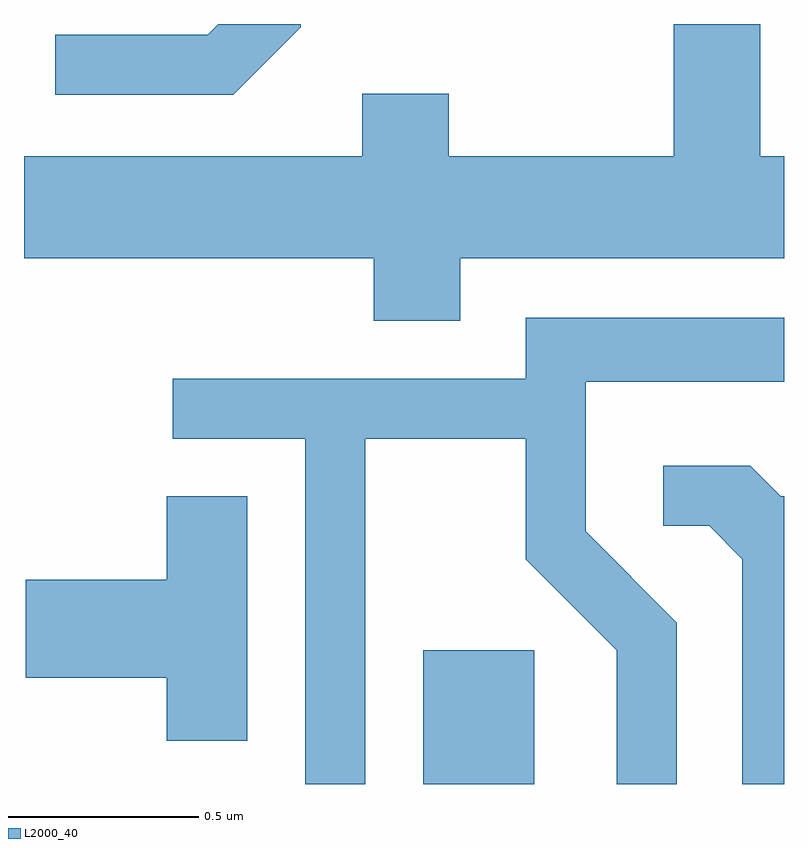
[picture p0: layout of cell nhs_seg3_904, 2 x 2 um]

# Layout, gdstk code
import gdstk
lib = gdstk.Library(unit=1e-6, precision=1e-09)
def R(c, l, rs):  # rectangles x0, y0, x1, y1
    for r in rs: c.add(gdstk.rectangle(r[:2], r[2:], *l))
def P(c, l, *ps):  # polygons
    for p in ps: c.add(gdstk.Polygon(p, *l))
L2000_40 = (2000, 40)

nhs_seg3_904 = lib.new_cell('nhs_seg3_904')
R(nhs_seg3_904, L2000_40, [(192.661,1197.892,192.954,1198.244)])
P(nhs_seg3_904, L2000_40, [(192.759,1199.276),(193.611,1199.276),(193.611,1199.544),(193.549,1199.544),(193.549,1199.892),(193.321,1199.892),(193.321,1199.544),(192.729,1199.544),(192.729,1199.709),(192.501,1199.709),(192.501,1199.544),(191.611,1199.544),(191.611,1199.276),(192.531,1199.276),(192.531,1199.111),(192.759,1199.111)],
  [(192.339,1199.884),(192.339,1199.892),(192.122,1199.892),(192.094,1199.864),(191.693,1199.864),(191.693,1199.706),(192.162,1199.706)],
  [(192.509,1198.801),(192.931,1198.801),(192.931,1198.484),(193.171,1198.244),(193.171,1197.892),(193.329,1197.892),(193.329,1198.317),(193.089,1198.557),(193.089,1198.951),(193.611,1198.951),(193.611,1199.119),(192.931,1199.119),(192.931,1198.959),(192.003,1198.959),(192.003,1198.801),(192.351,1198.801),(192.351,1197.892),(192.509,1197.892)],
  [(193.611,1198.649),(193.602,1198.649),(193.522,1198.729),(193.293,1198.729),(193.293,1198.571),(193.414,1198.571),(193.501,1198.484),(193.501,1197.892),(193.611,1197.892)],
  [(192.199,1198.649),(191.986,1198.649),(191.986,1198.429),(191.616,1198.429),(191.616,1198.171),(191.986,1198.171),(191.986,1198.006),(192.199,1198.006)])

lib.write_gds('nhs_seg3_904.gds')
